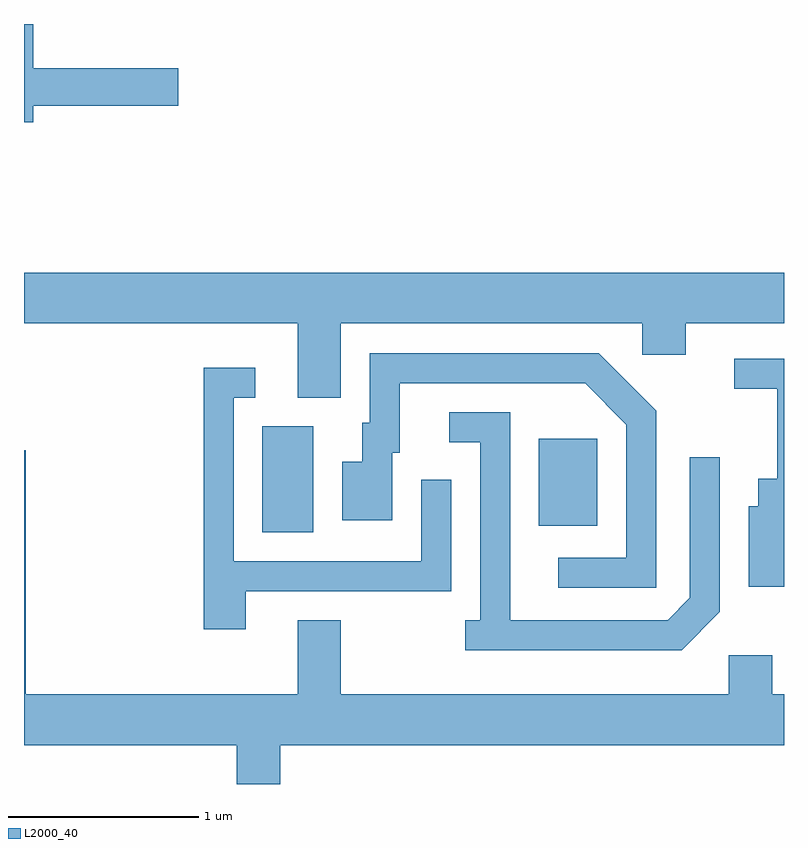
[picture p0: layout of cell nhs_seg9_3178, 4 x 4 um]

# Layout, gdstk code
import gdstk
lib = gdstk.Library(unit=1e-6, precision=1e-09)
def R(c, l, rs):  # rectangles x0, y0, x1, y1
    for r in rs: c.add(gdstk.rectangle(r[:2], r[2:], *l))
def P(c, l, *ps):  # polygons
    for p in ps: c.add(gdstk.Polygon(p, *l))
L2000_40 = (2000, 40)

nhs_seg9_3178 = lib.new_cell('nhs_seg9_3178')
R(nhs_seg9_3178, L2000_40, [(278.866,2061.756,279.134,2062.314), (280.321,2061.791,280.629,2062.249)])
P(nhs_seg9_3178, L2000_40, [(277.659,2064.001),(278.424,2064.001),(278.424,2064.199),(277.659,2064.199),(277.659,2064.432),(277.611,2064.432),(277.611,2063.916),(277.659,2063.916)],
  [(279.279,2062.856),(280.866,2062.856),(280.866,2062.691),(281.094,2062.691),(281.094,2062.856),(281.611,2062.856),(281.611,2063.124),(277.611,2063.124),(277.611,2062.856),(279.051,2062.856),(279.051,2062.466),(279.279,2062.466)],
  [(280.939,2062.396),(280.637,2062.699),(279.431,2062.699),(279.431,2062.334),(279.391,2062.334),(279.391,2062.129),(279.286,2062.129),(279.286,2061.821),(279.549,2061.821),(279.549,2062.176),(279.589,2062.176),(279.589,2062.541),(280.564,2062.541),(280.781,2062.324),(280.781,2061.624),(280.423,2061.624),(280.423,2061.466),(280.939,2061.466)],
  [(281.611,2062.669),(281.348,2062.669),(281.348,2062.511),(281.576,2062.511),(281.576,2062.039),(281.476,2062.039),(281.476,2061.894),(281.426,2061.894),(281.426,2061.471),(281.611,2061.471)],
  [(278.779,2061.446),(279.859,2061.446),(279.859,2062.033),(279.701,2062.033),(279.701,2061.604),(278.714,2061.604),(278.714,2062.466),(278.828,2062.466),(278.828,2062.624),(278.556,2062.624),(278.556,2061.246),(278.779,2061.246)],
  [(281.274,2061.338),(281.274,2062.153),(281.116,2062.153),(281.116,2061.412),(280.999,2061.294),(280.169,2061.294),(280.169,2062.389),(279.848,2062.389),(279.848,2062.231),(280.011,2062.231),(280.011,2061.294),(279.933,2061.294),(279.933,2061.136),(281.072,2061.136)],
  [(278.959,2060.636),(281.611,2060.636),(281.611,2060.904),(281.549,2060.904),(281.549,2061.109),(281.321,2061.109),(281.321,2060.904),(279.279,2060.904),(279.279,2061.294),(279.051,2061.294),(279.051,2060.904),(277.619,2060.904),(277.619,2062.189),(277.611,2062.189),(277.611,2060.636),(278.731,2060.636),(278.731,2060.432),(278.959,2060.432)])

lib.write_gds('nhs_seg9_3178.gds')
